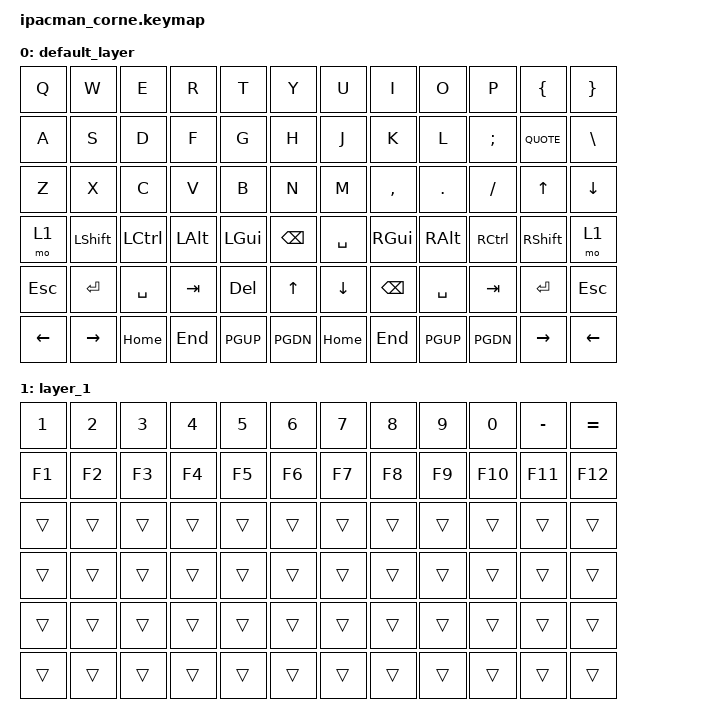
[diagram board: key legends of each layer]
/*
 * Copyright (c) 2024 The ZMK Contributors
 *
 * SPDX-License-Identifier: MIT
 */

#include <behaviors.dtsi>
#include <dt-bindings/zmk/keys.h>

/ {
    keymap {
        compatible = "zmk,keymap";

        default_layer {
            // -----------------------------------------------------------------------------------------
            // |  Q  |  W  |  E  |  R  |  T  |  Y  |     |  U  |  I  |  O  |  P  |  [  |  ]  |
            // |  A  |  S  |  D  |  F  |  G  |  H  |     |  J  |  K  |  L  |  ;  |  '  |  \  |
            // |  Z  |  X  |  C  |  V  |  B  |  N  |     |  M  |  ,  |  .  |  /  | UP  | DN  |
            // | MO1 |LSHFT|LCTRL|LALT |LGUI |BKSP |     |SPC  |RGUI |RALT |RCTRL|RSHFT| MO1 |
            // |ESC  |ENTER|SPACE| TAB | DEL | UP  |     | DN  |BKSP |SPACE| TAB |ENTER| ESC |
            // |LEFT |RIGHT| HOME| END |PGUP |PGDN |     |HOME | END |PGUP |PGDN |RIGHT|LEFT |
            bindings = <
                &kp Q       &kp W       &kp E       &kp R       &kp T       &kp Y           &kp U       &kp I       &kp O       &kp P       &kp LBRC    &kp RBRC
                &kp A       &kp S       &kp D       &kp F       &kp G       &kp H           &kp J       &kp K       &kp L       &kp SEMI    &kp QUOTE   &kp BSLH
                &kp Z       &kp X       &kp C       &kp V       &kp B       &kp N           &kp M       &kp COMMA   &kp DOT     &kp FSLH    &kp UP      &kp DOWN
                &mo 1       &kp LSHFT   &kp LCTRL   &kp LALT    &kp LGUI    &kp BKSP        &kp SPACE   &kp RGUI    &kp RALT    &kp RCTRL   &kp RSHFT   &mo 1
                &kp ESC     &kp ENTER   &kp SPACE   &kp TAB     &kp DEL     &kp UP          &kp DOWN    &kp BKSP    &kp SPACE   &kp TAB     &kp ENTER   &kp ESC
                &kp LEFT    &kp RIGHT   &kp HOME    &kp END     &kp PGUP    &kp PGDN        &kp HOME    &kp END     &kp PGUP    &kp PGDN    &kp RIGHT   &kp LEFT
            >;
        };

        layer_1 {
            bindings = <
                &kp N1      &kp N2      &kp N3      &kp N4      &kp N5      &kp N6          &kp N7      &kp N8      &kp N9      &kp N0      &kp MINUS   &kp EQUAL
                &kp F1      &kp F2      &kp F3      &kp F4      &kp F5      &kp F6          &kp F7      &kp F8      &kp F9      &kp F10     &kp F11     &kp F12
                &trans      &trans      &trans      &trans      &trans      &trans          &trans      &trans      &trans      &trans      &trans      &trans
                &trans      &trans      &trans      &trans      &trans      &trans          &trans      &trans      &trans      &trans      &trans      &trans
                &trans      &trans      &trans      &trans      &trans      &trans          &trans      &trans      &trans      &trans      &trans      &trans
                &trans      &trans      &trans      &trans      &trans      &trans          &trans      &trans      &trans      &trans      &trans      &trans
            >;
        };
    };
};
